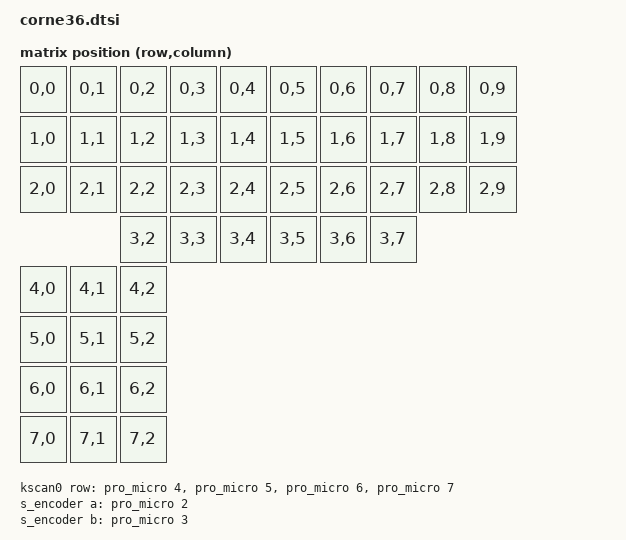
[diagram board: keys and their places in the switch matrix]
/*
 * Copyright (c) 2020 Pete Johanson
 *
 * SPDX-License-Identifier: MIT
 */

#include <dt-bindings/zmk/matrix_transform.h>
#include <physical_layouts.dtsi>

/ {
	chosen {
		zmk,kscan = &kscan0;
	};

	default_transform: keymap_transform_0 {
		compatible = "zmk,matrix-transform";
		columns = <10>;
		rows = <8>;
		map = <
RC(0,0) RC(0,1) RC(0,2) RC(0,3) RC(0,4)  RC(0,5) RC(0,6) RC(0,7) RC(0,8) RC(0,9)
RC(1,0) RC(1,1) RC(1,2) RC(1,3) RC(1,4)  RC(1,5) RC(1,6) RC(1,7) RC(1,8) RC(1,9)
RC(2,0) RC(2,1) RC(2,2) RC(2,3) RC(2,4)  RC(2,5) RC(2,6) RC(2,7) RC(2,8) RC(2,9)
                RC(3,2) RC(3,3) RC(3,4)  RC(3,5) RC(3,6) RC(3,7)
RC(4,0) RC(4,1) RC(4,2)
RC(5,0) RC(5,1) RC(5,2)
RC(6,0) RC(6,1) RC(6,2)
RC(7,0) RC(7,1) RC(7,2)
		>;
	};

	kscan0: kscan {
		compatible = "zmk,kscan-gpio-matrix";
		label = "KSCAN";
		wakeup-source;
		diode-direction = "col2row";
		row-gpios
			= <&pro_micro 4 (GPIO_ACTIVE_HIGH | GPIO_PULL_DOWN)>
			, <&pro_micro 5 (GPIO_ACTIVE_HIGH | GPIO_PULL_DOWN)>
			, <&pro_micro 6 (GPIO_ACTIVE_HIGH | GPIO_PULL_DOWN)>
			, <&pro_micro 7 (GPIO_ACTIVE_HIGH | GPIO_PULL_DOWN)>
			;
		
	};

	corne36_5col_layout: corne36_5col_layout {
			compatible = "zmk,physical-layout";
			display-name = "corne36";

			transform = <&default_transform>;
			kscan = <&kscan0>;

			keys  //                     w   h    x    y     rot    rx    ry
					= <&key_physical_attrs 100 100    0   37       0     0     0>
					, <&key_physical_attrs 100 100  100   12       0     0     0>
					, <&key_physical_attrs 100 100  200    0       0     0     0>
					, <&key_physical_attrs 100 100  300   12       0     0     0>
					, <&key_physical_attrs 100 100  400   24       0     0     0>
					, <&key_physical_attrs 100 100  700   24       0     0     0>
					, <&key_physical_attrs 100 100  800   12       0     0     0>
					, <&key_physical_attrs 100 100  900    0       0     0     0>
					, <&key_physical_attrs 100 100 1000   12       0     0     0>
					, <&key_physical_attrs 100 100 1100   37       0     0     0>
					, <&key_physical_attrs 100 100    0  137       0     0     0>
					, <&key_physical_attrs 100 100  100  112       0     0     0>
					, <&key_physical_attrs 100 100  200  100       0     0     0>
					, <&key_physical_attrs 100 100  300  112       0     0     0>
					, <&key_physical_attrs 100 100  400  124       0     0     0>
					, <&key_physical_attrs 100 100  700  124       0     0     0>
					, <&key_physical_attrs 100 100  800  112       0     0     0>
					, <&key_physical_attrs 100 100  900  100       0     0     0>
					, <&key_physical_attrs 100 100 1000  112       0     0     0>
					, <&key_physical_attrs 100 100 1100  137       0     0     0>
					, <&key_physical_attrs 100 100    0  237       0     0     0>
					, <&key_physical_attrs 100 100  100  212       0     0     0>
					, <&key_physical_attrs 100 100  200  200       0     0     0>
					, <&key_physical_attrs 100 100  300  212       0     0     0>
					, <&key_physical_attrs 100 100  400  224       0     0     0>
					, <&key_physical_attrs 100 100  700  224       0     0     0>
					, <&key_physical_attrs 100 100  800  212       0     0     0>
					, <&key_physical_attrs 100 100  900  200       0     0     0>
					, <&key_physical_attrs 100 100 1000  212       0     0     0>
					, <&key_physical_attrs 100 100 1100  237       0     0     0>
					, <&key_physical_attrs 100 100  250  312       0     0     0>
					, <&key_physical_attrs 100 100  350  312    1200   350   412>
					, <&key_physical_attrs 100 150  448  283    2400   448   433>
					, <&key_physical_attrs 100 150  652  283  (-2400)  752   433>
					, <&key_physical_attrs 100 100  750  312  (-1200)  850   412>
					, <&key_physical_attrs 100 100  850  312       0     0     0>
			;
	};

	corne36_position_map {
			compatible = "zmk,physical-layout-position-map";

			complete;

			ten {
					physical-layout = <&corne36_5col_layout>;
					positions
							= <36  0  1  2  3  4  5  6  7  8  9 37>
							, <38 10 11 12 13 14 15 16 17 18 19 39>
							, <40 20 21 22 23 24 25 26 27 28 29 41>
							, <         30 31 32 33 34 35         >;
			};
	};

};

/{
	s_encoder: s_encoder {
		compatible = "alps,ec11";
		a-gpios = <&pro_micro 2 (GPIO_ACTIVE_HIGH | GPIO_PULL_UP)>;
		b-gpios = <&pro_micro 3 (GPIO_ACTIVE_HIGH | GPIO_PULL_UP)>;
		steps = <80>;
		status = "disabled";
	};
	sensors: sensors {
		compatible = "zmk,keymap-sensors";
		status = "disabled";
		sensors = <>;
		triggers-per-rotation = <20>;
	};
};
